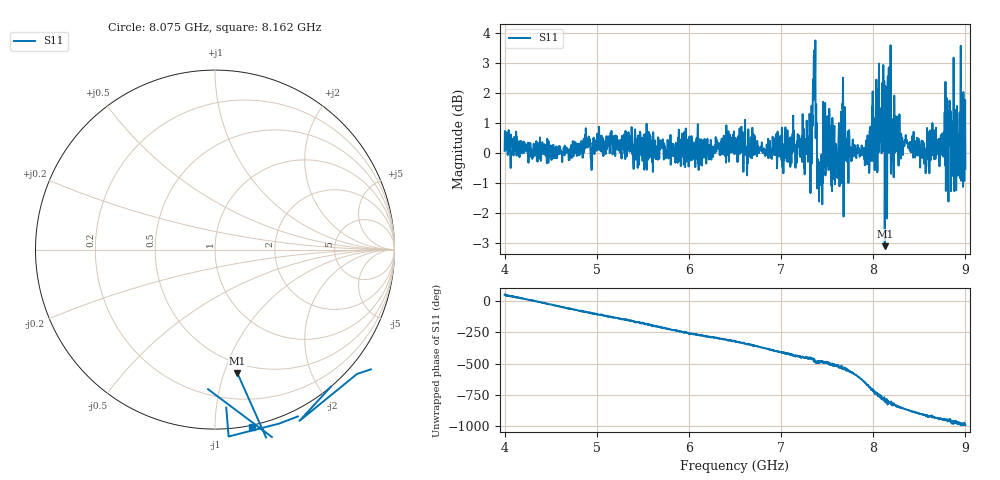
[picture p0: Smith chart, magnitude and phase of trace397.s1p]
! Created with skrf 1.8.0 (http://scikit-rf.org).
# Hz S RI R 50.0
!freq ReS11 ImS11
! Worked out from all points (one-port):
!   1601 points, 4 GHz to 9 GHz, reference 50 ohm
!   lowest |S11| = -3.1 dB at 8.125 GHz (marker M1), VSWR 5.67, Z = 20.5 - j55.5 ohm
!   |S11| at or under -10 dB: nowhere
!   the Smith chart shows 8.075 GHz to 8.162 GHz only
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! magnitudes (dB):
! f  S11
! 4 GHz  0.1
! 4.625 GHz  -0.3
! 4.897 GHz  0.3
! 4.95 GHz  -0.3
! 5.25 GHz  0.0
! 5.875 GHz  -0.1
! 6.5 GHz  0.0
! 7.125 GHz  0.7
! 7.309 GHz  1.3
! 7.347 GHz  2.5
! 7.362 GHz  3.4
! 7.4 GHz  -0.5
! 7.416 GHz  -0.5
! 7.512 GHz  1.0
! 7.591 GHz  0.1
! 7.675 GHz  0.3
! 7.75 GHz  -0.1
! 7.997 GHz  -0.2
! 8.088 GHz  0.5
! 8.125 GHz  -3.1
! 8.178 GHz  1.4
! 8.216 GHz  0.9
! 8.375 GHz  0.4
! 8.553 GHz  0.0
! 8.847 GHz  0.8
! 8.906 GHz  0.2
! 8.972 GHz  0.4
! 9 GHz  -0.5
